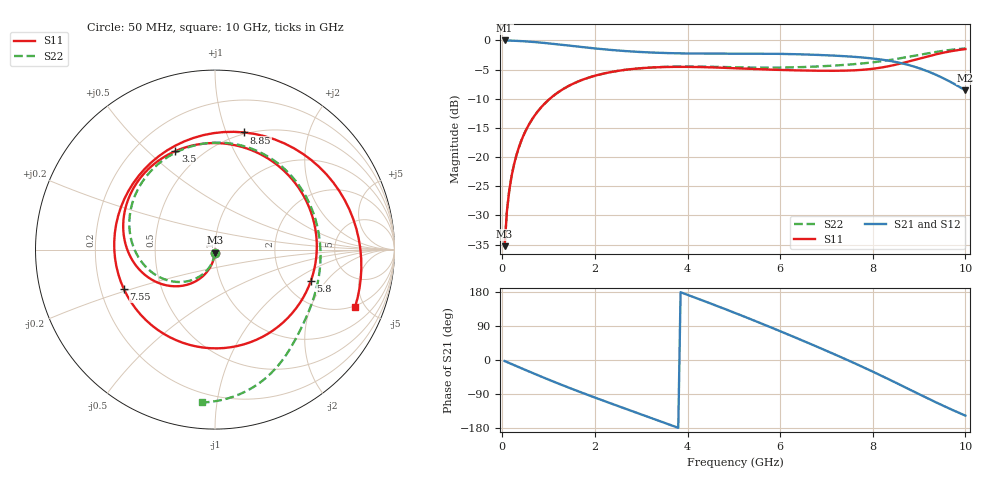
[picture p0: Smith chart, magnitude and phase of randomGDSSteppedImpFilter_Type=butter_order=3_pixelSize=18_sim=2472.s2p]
! freq	dB(S11)	phase(S11)	dB(S12)	phase(S12)
!  dB(S21)	phase(S21)	dB(S22)	phase(S22)
!S-par simulation data
#  GHz  S  DB  R 50
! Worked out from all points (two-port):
!   200 points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, 50 MHz to 10 GHz, reference 50 ohm
!   highest |S21| = 0.00 dB at 50 MHz (marker M1); lowest = -8.6 dB at 10 GHz (marker M2)
!   |S21| within 3 dB of the highest: start of sweep to 7.89 GHz
!   lowest |S11| = -35.3 dB at 50 MHz (marker M3), VSWR 1.04, Z = 49.9 - j1.72 ohm
!   |S11| at or under -10 dB: start of sweep to 1.026 GHz
!   |S22| runs from -35.3 to -1.4 dB; largest |S21 - S12| = 0
!   S11 on the Smith chart (normalised r, x): 50 MHz: 1.00, -0.03; 3.5 GHz: 0.36, +0.61; 5.8 GHz: 2.76, -1.41; 7.55 GHz: 0.30, -0.19; 8.85 GHz: 0.49, +1.16; 10 GHz: 1.91, -4.25
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0.05  -35.26 -92.6  -0.00 -2.7  -0.00 -2.7  -35.27 -93.0
0.1  -29.25 -95.2  -0.01 -5.4  -0.01 -5.4  -29.26 -95.9
0.2  -23.28 -100.3  -0.04 -10.6  -0.04 -10.6  -23.28 -101.7
0.5  -15.56 -115.1  -0.16 -26.3  -0.16 -26.3  -15.56 -118.8
1.1  -9.51 -143.4  -0.59 -56.8  -0.59 -56.8  -9.51 -151.3
1.75  -6.69 -172.3  -1.16 -87.7  -1.16 -87.7  -6.69 175.6
2.55  -5.15 153.5  -1.76 -123.7  -1.76 -123.7  -5.15 137.6
3.4  -4.58 116.5  -2.13 -161.2  -2.13 -161.2  -4.56 100.1
3.5  -4.56 111.9  -2.15 -165.6  -2.15 -165.6  -4.53 95.8
4.3  -4.57 72.8  -2.25 158.3  -2.25 158.3  -4.48 63.3
5.05  -4.77 30.6  -2.25 123.0  -2.25 123.0  -4.60 36.0
5.8  -5.01 -18.1  -2.28 86.1  -2.28 86.1  -4.67 12.2
6.3  -5.12 -54.0  -2.35 60.8  -2.35 60.8  -4.61 -1.9
6.7  -5.18 -84.7  -2.45 40.1  -2.45 40.1  -4.50 -12.4
7.1  -5.20 -117.3  -2.58 19.0  -2.58 19.0  -4.34 -22.2
7.55  -5.14 -156.6  -2.78 -5.4  -2.78 -5.4  -4.10 -32.5
7.95  -4.91 165.7  -3.05 -27.9  -3.05 -27.9  -3.80 -41.2
8.35  -4.41 125.9  -3.48 -51.1  -3.48 -51.1  -3.38 -49.6
8.85  -3.44 76.0  -4.38 -81.1  -4.38 -81.1  -2.69 -61.1
9.15  -2.80 47.5  -5.18 -99.1  -5.18 -99.1  -2.26 -68.8
9.45  -2.23 20.9  -6.20 -116.6  -6.20 -116.6  -1.87 -77.4
10  -1.48 -22.3  -8.57 -146.8  -8.57 -146.8  -1.36 -94.8
